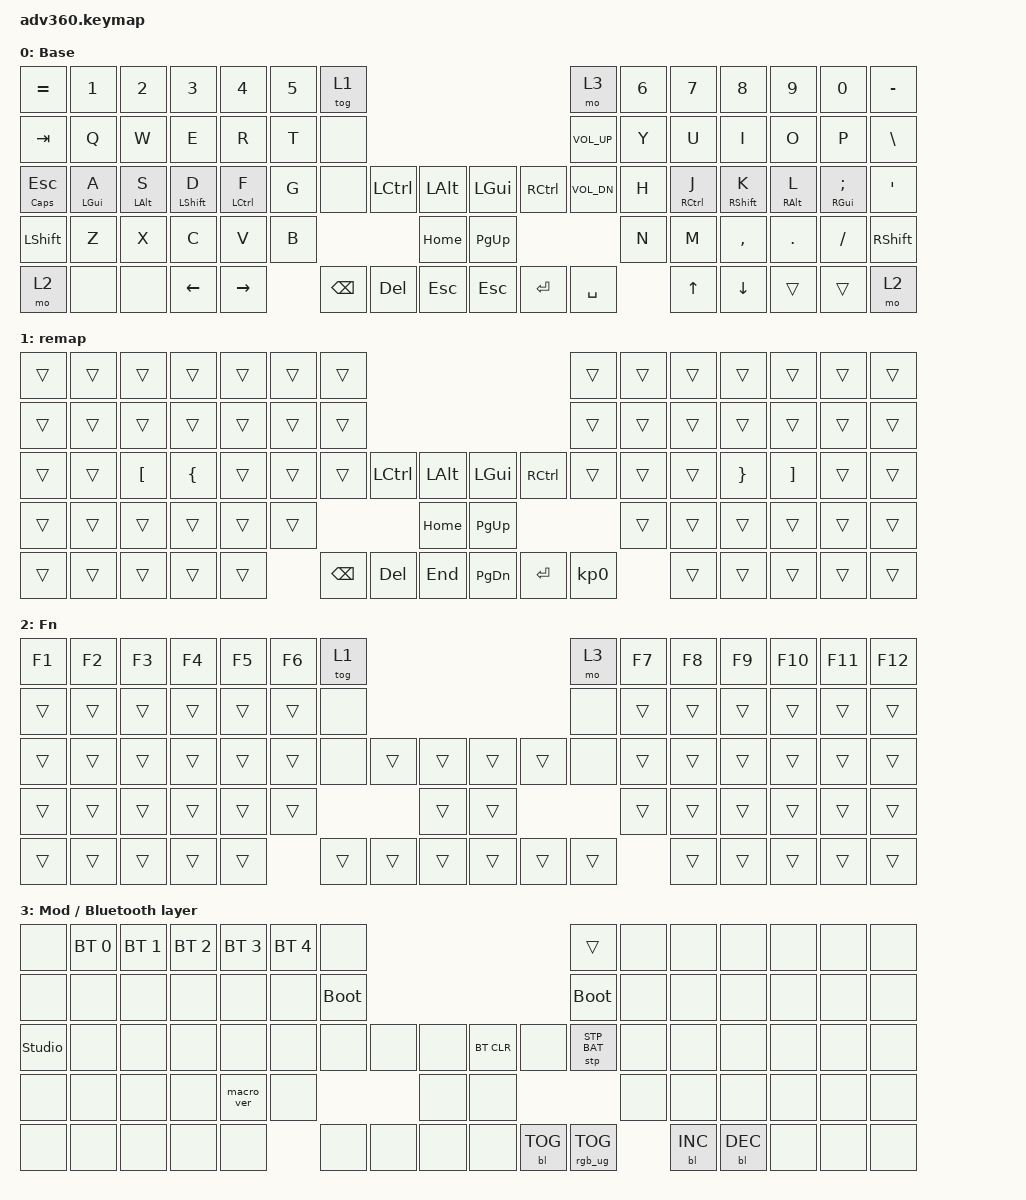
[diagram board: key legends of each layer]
#include <dt-bindings/zmk/stp.h>
#include <behaviors.dtsi>
#include <dt-bindings/zmk/backlight.h>
#include <dt-bindings/zmk/bt.h>
#include <dt-bindings/zmk/keys.h>
#include <dt-bindings/zmk/rgb.h>

/ {
    behaviors {
        #include "macros.dtsi"
      #include "version.dtsi"

        hm: homerow_mods {
            compatible = "zmk,behavior-hold-tap";
            label = "HOMEROW_MODS";
            #binding-cells = <2>;
            tapping-term-ms = <200>;
            quick_tap_ms = <175>;
            flavor = "tap-preferred";
            bindings = <&kp>, <&kp>;
        };
    };

    keymap {
        compatible = "zmk,keymap";

        default_layer {
            display-name = "Base";
            bindings = <
&kp EQUAL            &kp N1          &kp N2          &kp N3            &kp N4              &kp N5  &tog 1                                                      &mo 3         &kp N6  &kp N7               &kp N8             &kp N9           &kp N0              &kp MINUS
&kp TAB              &kp Q           &kp W           &kp E             &kp R               &kp T   &none                                                       &kp C_VOL_UP  &kp Y   &kp U                &kp I              &kp O            &kp P               &kp BSLH
&mt CAPSLOCK ESCAPE  &mt LEFT_GUI A  &mt LEFT_ALT S  &mt LEFT_SHIFT D  &mt LEFT_CONTROL F  &kp G   &none     &kp LCTRL  &kp LALT        &kp LGUI    &kp RCTRL  &kp C_VOL_DN  &kp H   &mt RIGHT_CONTROL J  &mt RIGHT_SHIFT K  &mt RIGHT_ALT L  &mt RIGHT_GUI SEMI  &kp SQT
&kp LEFT_SHIFT       &kp Z           &kp X           &kp C             &kp V               &kp B                        &kp HOME        &kp PG_UP                            &kp N   &kp M                &kp COMMA          &kp DOT          &kp FSLH            &kp RIGHT_SHIFT
&mo 2                &none           &none           &kp LEFT          &kp RIGHT                   &kp BSPC  &kp DEL    &kp ESCAPE      &kp ESCAPE  &kp ENTER  &kp SPACE             &kp UP               &kp DOWN           &trans           &trans              &mo 2
            >;
        };

        keypad {
            display-name = "remap";
            bindings = <
&trans  &trans  &trans            &trans          &trans  &trans  &trans                                                   &trans     &trans  &trans  &trans           &trans             &trans  &trans
&trans  &trans  &trans            &trans          &trans  &trans  &trans                                                   &trans     &trans  &trans  &trans           &trans             &trans  &trans
&trans  &trans  &kp LEFT_BRACKET  &kp LEFT_BRACE  &trans  &trans  &trans    &kp LCTRL  &kp LALT      &kp LGUI   &kp RCTRL  &trans     &trans  &trans  &kp RIGHT_BRACE  &kp RIGHT_BRACKET  &trans  &trans
&trans  &trans  &trans            &trans          &trans  &trans                       &kp HOME      &kp PG_UP                        &trans  &trans  &trans           &trans             &trans  &trans
&trans  &trans  &trans            &trans          &trans          &kp BSPC  &kp DEL    &kp END       &kp PG_DN  &kp ENTER  &kp KP_N0          &trans  &trans           &trans             &trans  &trans
            >;
        };

        fn {
            display-name = "Fn";
            bindings = <
&kp F1  &kp F2  &kp F3  &kp F4  &kp F5  &kp F6  &tog 1                                      &mo 3   &kp F7  &kp F8  &kp F9  &kp F10  &kp F11  &kp F12
&trans  &trans  &trans  &trans  &trans  &trans  &none                                       &none   &trans  &trans  &trans  &trans   &trans   &trans
&trans  &trans  &trans  &trans  &trans  &trans  &none   &trans  &trans      &trans  &trans  &none   &trans  &trans  &trans  &trans   &trans   &trans
&trans  &trans  &trans  &trans  &trans  &trans                  &trans      &trans                  &trans  &trans  &trans  &trans   &trans   &trans
&trans  &trans  &trans  &trans  &trans          &trans  &trans  &trans      &trans  &trans  &trans          &trans  &trans  &trans   &trans   &trans
            >;
        };

        mod {
            display-name = "Mod / Bluetooth layer";
            bindings = <
&none           &bt BT_SEL 0  &bt BT_SEL 1  &bt BT_SEL 2  &bt BT_SEL 3  &bt BT_SEL 4  &none                                                  &trans           &none  &none       &none       &none  &none  &none
&none           &none         &none         &none         &none         &none         &bootloader                                            &bootloader      &none  &none       &none       &none  &none  &none
&studio_unlock  &none         &none         &none         &none         &none         &none        &none  &none      &bt BT_CLR  &none       &stp STP_BAT     &none  &none       &none       &none  &none  &none
&none           &none         &none         &none         &macro_ver    &none                             &none      &none                                    &none  &none       &none       &none  &none  &none
&none           &none         &none         &none         &none                       &none        &none  &none      &none       &bl BL_TOG  &rgb_ug RGB_TOG         &bl BL_INC  &bl BL_DEC  &none  &none  &none
            >;
        };
    };
};
